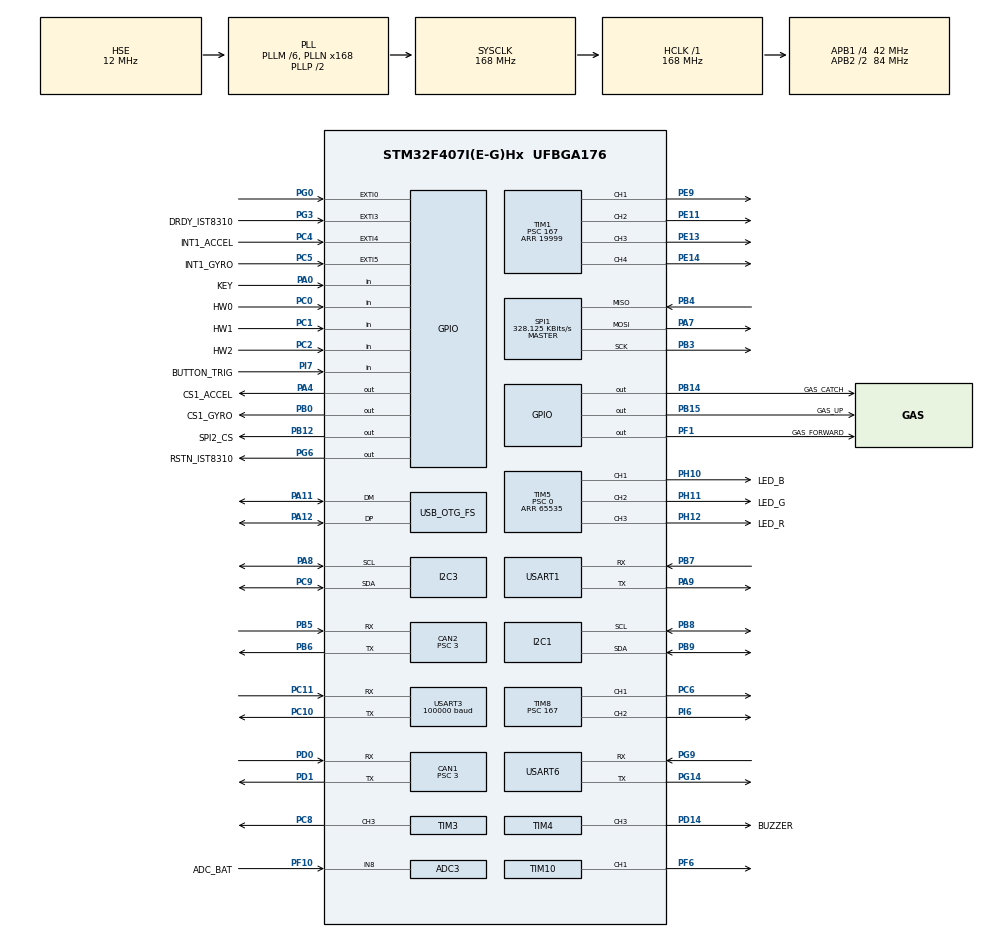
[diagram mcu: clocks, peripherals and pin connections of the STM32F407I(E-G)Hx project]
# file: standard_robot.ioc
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ADC1.Channel-0\#ChannelRegularConversion=ADC_CHANNEL_TEMPSENSOR
ADC1.ClockPrescaler=ADC_CLOCK_SYNC_PCLK_DIV6
ADC1.NbrOfConversionFlag=1
ADC1.Rank-0\#ChannelRegularConversion=1
ADC1.SamplingTime-0\#ChannelRegularConversion=ADC_SAMPLETIME_3CYCLES
ADC1.master=1
ADC3.Channel-0\#ChannelRegularConversion=ADC_CHANNEL_8
ADC3.ClockPrescaler=ADC_CLOCK_SYNC_PCLK_DIV6
ADC3.NbrOfConversionFlag=1
ADC3.Rank-0\#ChannelRegularConversion=1
ADC3.SamplingTime-0\#ChannelRegularConversion=ADC_SAMPLETIME_3CYCLES
CAN1.BS1=CAN_BS1_10TQ
CAN1.BS2=CAN_BS2_3TQ
CAN1.CalculateBaudRate=1000000
CAN1.CalculateTimeBit=999.99
CAN1.CalculateTimeQuantum=71.42857142857143
CAN1.Prescaler=3
CAN2.BS1=CAN_BS1_10TQ
CAN2.BS2=CAN_BS2_3TQ
CAN2.CalculateBaudRate=1000000
CAN2.CalculateTimeBit=999.99
CAN2.CalculateTimeQuantum=71.42857142857143
CAN2.Prescaler=3
Dma.Request0=SPI1_RX
Dma.Request1=SPI1_TX
Dma.Request2=USART3_RX
Dma.Request3=USART6_RX
Dma.Request4=USART6_TX
Dma.Request5=USART1_TX
Dma.Request6=USART1_RX
Dma.SPI1_RX.0.Direction=DMA_PERIPH_TO_MEMORY
Dma.SPI1_RX.0.FIFOMode=DMA_FIFOMODE_DISABLE
Dma.SPI1_RX.0.Instance=DMA2_Stream2
Dma.SPI1_RX.0.MemDataAlignment=DMA_MDATAALIGN_BYTE
Dma.SPI1_RX.0.MemInc=DMA_MINC_ENABLE
Dma.SPI1_RX.0.Mode=DMA_NORMAL
Dma.SPI1_RX.0.PeriphDataAlignment=DMA_PDATAALIGN_BYTE
Dma.SPI1_RX.0.PeriphInc=DMA_PINC_DISABLE
Dma.SPI1_RX.0.Priority=DMA_PRIORITY_VERY_HIGH
Dma.SPI1_TX.1.Direction=DMA_MEMORY_TO_PERIPH
Dma.SPI1_TX.1.FIFOMode=DMA_FIFOMODE_DISABLE
Dma.SPI1_TX.1.Instance=DMA2_Stream3
Dma.SPI1_TX.1.MemDataAlignment=DMA_MDATAALIGN_BYTE
Dma.SPI1_TX.1.MemInc=DMA_MINC_ENABLE
Dma.SPI1_TX.1.Mode=DMA_NORMAL
Dma.SPI1_TX.1.PeriphDataAlignment=DMA_PDATAALIGN_BYTE
Dma.SPI1_TX.1.PeriphInc=DMA_PINC_DISABLE
Dma.SPI1_TX.1.Priority=DMA_PRIORITY_HIGH
Dma.USART1_RX.6.Direction=DMA_PERIPH_TO_MEMORY
Dma.USART1_RX.6.FIFOMode=DMA_FIFOMODE_DISABLE
Dma.USART1_RX.6.Instance=DMA2_Stream5
Dma.USART1_RX.6.MemDataAlignment=DMA_MDATAALIGN_BYTE
Dma.USART1_RX.6.MemInc=DMA_MINC_ENABLE
Dma.USART1_RX.6.Mode=DMA_NORMAL
Dma.USART1_RX.6.PeriphDataAlignment=DMA_PDATAALIGN_BYTE
Dma.USART1_RX.6.PeriphInc=DMA_PINC_DISABLE
Dma.USART1_RX.6.Priority=DMA_PRIORITY_HIGH
Dma.USART1_TX.5.Direction=DMA_MEMORY_TO_PERIPH
Dma.USART1_TX.5.FIFOMode=DMA_FIFOMODE_DISABLE
Dma.USART1_TX.5.Instance=DMA2_Stream7
Dma.USART1_TX.5.MemDataAlignment=DMA_MDATAALIGN_BYTE
Dma.USART1_TX.5.MemInc=DMA_MINC_ENABLE
Dma.USART1_TX.5.Mode=DMA_NORMAL
Dma.USART1_TX.5.PeriphDataAlignment=DMA_PDATAALIGN_BYTE
Dma.USART1_TX.5.PeriphInc=DMA_PINC_DISABLE
Dma.USART1_TX.5.Priority=DMA_PRIORITY_MEDIUM
Dma.USART3_RX.2.Direction=DMA_PERIPH_TO_MEMORY
Dma.USART3_RX.2.FIFOMode=DMA_FIFOMODE_DISABLE
Dma.USART3_RX.2.Instance=DMA1_Stream1
Dma.USART3_RX.2.MemDataAlignment=DMA_MDATAALIGN_BYTE
Dma.USART3_RX.2.MemInc=DMA_MINC_ENABLE
Dma.USART3_RX.2.Mode=DMA_NORMAL
Dma.USART3_RX.2.PeriphDataAlignment=DMA_PDATAALIGN_BYTE
Dma.USART3_RX.2.PeriphInc=DMA_PINC_DISABLE
Dma.USART3_RX.2.Priority=DMA_PRIORITY_HIGH
Dma.USART6_RX.3.Direction=DMA_PERIPH_TO_MEMORY
Dma.USART6_RX.3.FIFOMode=DMA_FIFOMODE_DISABLE
Dma.USART6_RX.3.Instance=DMA2_Stream1
Dma.USART6_RX.3.MemDataAlignment=DMA_MDATAALIGN_BYTE
Dma.USART6_RX.3.MemInc=DMA_MINC_ENABLE
Dma.USART6_RX.3.Mode=DMA_NORMAL
Dma.USART6_RX.3.PeriphDataAlignment=DMA_PDATAALIGN_BYTE
Dma.USART6_RX.3.PeriphInc=DMA_PINC_DISABLE
Dma.USART6_RX.3.Priority=DMA_PRIORITY_HIGH
Dma.USART6_TX.4.Direction=DMA_MEMORY_TO_PERIPH
Dma.USART6_TX.4.FIFOMode=DMA_FIFOMODE_DISABLE
Dma.USART6_TX.4.Instance=DMA2_Stream6
Dma.USART6_TX.4.MemDataAlignment=DMA_MDATAALIGN_BYTE
Dma.USART6_TX.4.MemInc=DMA_MINC_ENABLE
Dma.USART6_TX.4.Mode=DMA_NORMAL
Dma.USART6_TX.4.PeriphDataAlignment=DMA_PDATAALIGN_BYTE
Dma.USART6_TX.4.PeriphInc=DMA_PINC_DISABLE
Dma.USART6_TX.4.Priority=DMA_PRIORITY_MEDIUM
FREERTOS.INCLUDE_eTaskGetState=1
FREERTOS.INCLUDE_pcTaskGetTaskName=1
FREERTOS.INCLUDE_uxTaskGetStackHighWaterMark=1
FREERTOS.INCLUDE_vTaskCleanUpResources=1
FREERTOS.INCLUDE_vTaskDelayUntil=1
FREERTOS.INCLUDE_xEventGroupSetBitFromISR=1
FREERTOS.INCLUDE_xQueueGetMutexHolder=1
FREERTOS.INCLUDE_xSemaphoreGetMutexHolder=1
FREERTOS.INCLUDE_xTaskAbortDelay=1
FREERTOS.INCLUDE_xTaskGetCurrentTaskHandle=1
FREERTOS.INCLUDE_xTaskGetHandle=1
FREERTOS.INCLUDE_xTimerPendFunctionCall=1
FREERTOS.Tasks01=test,24,128,test_task,As weak,NULL,Dynamic,NULL,NULL
FREERTOS.configTOTAL_HEAP_SIZE=24576
I2C1.I2C_Mode=I2C_Fast
I2C3.I2C_Mode=I2C_Fast
Mcu.Family=STM32F4
Mcu.Name=STM32F407I(E-G)Hx
Mcu.Package=UFBGA176
NVIC.CAN1_RX0_IRQn=true\:6\:0\:true\:false\:true\:true\:true\:true
NVIC.CAN2_RX0_IRQn=true\:6\:0\:true\:false\:true\:true\:true\:true
NVIC.DMA1_Stream1_IRQn=true\:5\:0\:true\:false\:false\:true\:false\:false
NVIC.DMA2_Stream1_IRQn=true\:5\:0\:true\:false\:true\:true\:false\:true
NVIC.DMA2_Stream2_IRQn=true\:5\:0\:false\:false\:true\:true\:false\:true
NVIC.DMA2_Stream3_IRQn=true\:5\:0\:true\:false\:false\:true\:false\:true
NVIC.DMA2_Stream5_IRQn=true\:5\:0\:true\:false\:true\:false\:false\:true
NVIC.DMA2_Stream6_IRQn=true\:5\:0\:true\:false\:true\:true\:false\:true
NVIC.DMA2_Stream7_IRQn=true\:5\:0\:true\:false\:true\:true\:false\:true
NVIC.EXTI0_IRQn=true\:6\:0\:true\:false\:true\:true\:true\:true
NVIC.EXTI3_IRQn=true\:5\:0\:true\:false\:true\:true\:true\:true
NVIC.EXTI4_IRQn=true\:5\:0\:true\:false\:true\:true\:true\:true
NVIC.EXTI9_5_IRQn=true\:5\:0\:true\:false\:true\:true\:true\:true
NVIC.OTG_FS_IRQn=true\:5\:0\:false\:false\:true\:true\:false\:true
NVIC.PriorityGroup=NVIC_PRIORITYGROUP_4
NVIC.USART1_IRQn=true\:5\:0\:false\:false\:true\:true\:true\:true
NVIC.USART3_IRQn=true\:4\:0\:true\:false\:false\:false\:true\:true
NVIC.USART6_IRQn=true\:5\:0\:true\:false\:false\:true\:true\:true
PA0-WKUP.GPIO_Label=KEY
PA0-WKUP.GPIO_PuPd=GPIO_PULLUP
PA0-WKUP.Signal=GPIO_Input
PA11.Mode=Device_Only
PA11.Signal=USB_OTG_FS_DM
PA12.Mode=Device_Only
PA12.Signal=USB_OTG_FS_DP
PA13.Mode=Serial_Wire
PA13.Signal=SYS_JTMS-SWDIO
PA14.Mode=Serial_Wire
PA14.Signal=SYS_JTCK-SWCLK
PA4.GPIO_Label=CS1_ACCEL
PA4.GPIO_PuPd=GPIO_PULLUP
PA4.GPIO_Speed=GPIO_SPEED_FREQ_HIGH
PA4.PinState=GPIO_PIN_SET
PA4.Signal=GPIO_Output
PA7.GPIO_PuPd=GPIO_PULLUP
PA7.Mode=Full_Duplex_Master
PA7.Signal=SPI1_MOSI
PA8.Mode=I2C
PA8.Signal=I2C3_SCL
PA9.Mode=Asynchronous
PA9.Signal=USART1_TX
PB0.GPIO_Label=CS1_GYRO
PB0.GPIO_PuPd=GPIO_PULLUP
PB0.GPIO_Speed=GPIO_SPEED_FREQ_HIGH
PB0.PinState=GPIO_PIN_SET
PB0.Signal=GPIO_Output
PB12.GPIO_Label=SPI2_CS
PB12.GPIO_PuPd=GPIO_PULLUP
PB12.GPIO_Speed=GPIO_SPEED_FREQ_MEDIUM
PB12.PinState=GPIO_PIN_SET
PB12.Signal=GPIO_Output
PB14.GPIO_Label=GAS_CATCH
PB14.GPIO_PuPd=GPIO_PULLDOWN
PB14.Signal=GPIO_Output
PB15.GPIO_Label=GAS_UP
PB15.GPIO_PuPd=GPIO_PULLDOWN
PB15.Signal=GPIO_Output
PB3.GPIO_PuPd=GPIO_PULLUP
PB3.Mode=Full_Duplex_Master
PB3.Signal=SPI1_SCK
PB4.GPIO_PuPd=GPIO_PULLUP
PB4.Mode=Full_Duplex_Master
PB4.Signal=SPI1_MISO
PB5.Mode=CAN_Activate
PB5.Signal=CAN2_RX
PB6.Mode=CAN_Activate
PB6.Signal=CAN2_TX
PB7.Mode=Asynchronous
PB7.Signal=USART1_RX
PB8.Mode=I2C
PB8.Signal=I2C1_SCL
PB9.Mode=I2C
PB9.Signal=I2C1_SDA
PC0.GPIO_Label=HW0
PC0.Signal=GPIO_Input
PC1.GPIO_Label=HW1
PC1.Signal=GPIO_Input
PC10.Mode=Asynchronous
PC10.Signal=USART3_TX
PC11.Mode=Asynchronous
PC11.Signal=USART3_RX
PC2.GPIO_Label=HW2
PC2.Signal=GPIO_Input
PC4.GPIO_Label=INT1_ACCEL
PC4.GPIO_ModeDefaultEXTI=GPIO_MODE_IT_FALLING
PC4.GPIO_PuPd=GPIO_PULLUP
PC4.Signal=GPXTI4
PC5.GPIO_Label=INT1_GYRO
PC5.GPIO_ModeDefaultEXTI=GPIO_MODE_IT_FALLING
PC5.GPIO_PuPd=GPIO_PULLUP
PC5.Signal=GPXTI5
PC6.GPIO_PuPd=GPIO_PULLUP
PC6.GPIO_Speed=GPIO_SPEED_FREQ_HIGH
PC6.Signal=S_TIM8_CH1
PC8.GPIO_PuPd=GPIO_PULLUP
PC8.GPIO_Speed=GPIO_SPEED_FREQ_HIGH
PC8.Signal=S_TIM3_CH3
PC9.Mode=I2C
PC9.Signal=I2C3_SDA
PD0.Mode=CAN_Activate
PD0.Signal=CAN1_RX
PD1.Mode=CAN_Activate
PD1.Signal=CAN1_TX
PD14.GPIO_Label=BUZZER
PD14.GPIO_PuPd=GPIO_PULLUP
PD14.GPIO_Speed=GPIO_SPEED_FREQ_VERY_HIGH
PD14.Signal=S_TIM4_CH3
PE11.GPIO_PuPd=GPIO_PULLUP
PE11.GPIO_Speed=GPIO_SPEED_FREQ_HIGH
PE11.Signal=S_TIM1_CH2
PE13.GPIO_PuPd=GPIO_PULLUP
PE13.GPIO_Speed=GPIO_SPEED_FREQ_HIGH
PE13.Signal=S_TIM1_CH3
PE14.GPIO_PuPd=GPIO_PULLUP
PE14.GPIO_Speed=GPIO_SPEED_FREQ_HIGH
PE14.Signal=S_TIM1_CH4
PE9.GPIO_PuPd=GPIO_PULLUP
PE9.GPIO_Speed=GPIO_SPEED_FREQ_HIGH
PE9.Signal=S_TIM1_CH1
PF0.Signal=I2C2_SDA
PF1.GPIO_Label=GAS_FORWARD
PF1.GPIO_PuPd=GPIO_PULLDOWN
PF1.Signal=GPIO_Output
PF10.GPIO_Label=ADC_BAT
PF10.Mode=IN8
PF10.Signal=ADC3_IN8
PF6.GPIO_PuPd=GPIO_PULLUP
PF6.GPIO_Speed=GPIO_SPEED_FREQ_HIGH
PF6.Signal=S_TIM10_CH1
PG0.GPIO_ModeDefaultEXTI=GPIO_MODE_IT_FALLING
PG0.GPIO_PuPd=GPIO_PULLUP
PG0.Signal=GPXTI0
PG14.Mode=Asynchronous
PG14.Signal=USART6_TX
PG3.GPIO_Label=DRDY_IST8310
PG3.GPIO_ModeDefaultEXTI=GPIO_MODE_IT_FALLING
PG3.GPIO_PuPd=GPIO_PULLUP
PG3.Signal=GPXTI3
PG6.GPIO_Label=RSTN_IST8310
PG6.GPIO_PuPd=GPIO_PULLUP
PG6.GPIO_Speed=GPIO_SPEED_FREQ_MEDIUM
PG6.PinState=GPIO_PIN_SET
PG6.Signal=GPIO_Output
PG9.Mode=Asynchronous
PG9.Signal=USART6_RX
PH0-OSC_IN.Mode=HSE-External-Oscillator
PH0-OSC_IN.Signal=RCC_OSC_IN
PH1-OSC_OUT.Mode=HSE-External-Oscillator
PH1-OSC_OUT.Signal=RCC_OSC_OUT
PH10.GPIO_Label=LED_B
PH10.GPIO_PuPd=GPIO_PULLUP
PH10.GPIO_Speed=GPIO_SPEED_FREQ_HIGH
PH10.Signal=S_TIM5_CH1
PH11.GPIO_Label=LED_G
PH11.GPIO_PuPd=GPIO_PULLUP
PH11.GPIO_Speed=GPIO_SPEED_FREQ_HIGH
PH11.Signal=S_TIM5_CH2
PH12.GPIO_Label=LED_R
PH12.GPIO_PuPd=GPIO_PULLUP
PH12.GPIO_Speed=GPIO_SPEED_FREQ_HIGH
PH12.Signal=S_TIM5_CH3
PI6.GPIO_PuPd=GPIO_PULLUP
PI6.GPIO_Speed=GPIO_SPEED_FREQ_HIGH
PI6.Signal=S_TIM8_CH2
PI7.GPIO_Label=BUTTON_TRIG
PI7.GPIO_PuPd=GPIO_PULLUP
PI7.Signal=GPIO_Input
ProjectManager.HeapSize=0x2000
ProjectManager.StackSize=0x2000
ProjectManager.TargetToolchain=MDK-ARM V5
RCC.48MHZClocksFreq_Value=48000000
RCC.AHBFreq_Value=168000000
RCC.APB1CLKDivider=RCC_HCLK_DIV4
RCC.APB1Freq_Value=42000000
RCC.APB1TimFreq_Value=84000000
RCC.APB2CLKDivider=RCC_HCLK_DIV2
RCC.APB2Freq_Value=84000000
RCC.APB2TimFreq_Value=168000000
RCC.CortexFreq_Value=168000000
RCC.HCLKFreq_Value=168000000
RCC.HSE_VALUE=12000000
RCC.HSI_VALUE=16000000
RCC.LSE_VALUE=32768
RCC.PLLM=6
RCC.PLLN=168
RCC.PLLQ=7
RCC.RCC_RTC_Clock_SourceVirtual=RCC_RTCCLKSOURCE_HSE_DIV30
RCC.RCC_RTC_Clock_Source_FROM_HSE=RCC_RTCCLKSOURCE_HSE_DIV30
RCC.SYSCLKFreq_VALUE=168000000
RCC.SYSCLKSource=RCC_SYSCLKSOURCE_PLLCLK
RCC.VCOOutputFreq_Value=336000000
RTC.AsynchPrediv=124
RTC.SynchPrediv=3199
SH.S_TIM10_CH1.0=TIM10_CH1,PWM Generation1 CH1
SH.S_TIM1_CH1.0=TIM1_CH1,PWM Generation1 CH1
SH.S_TIM1_CH2.0=TIM1_CH2,PWM Generation2 CH2
SH.S_TIM1_CH3.0=TIM1_CH3,PWM Generation3 CH3
SH.S_TIM1_CH4.0=TIM1_CH4,PWM Generation4 CH4
SH.S_TIM3_CH3.0=TIM3_CH3,PWM Generation3 CH3
SH.S_TIM4_CH3.0=TIM4_CH3,PWM Generation3 CH3
SH.S_TIM5_CH1.0=TIM5_CH1,PWM Generation1 CH1
SH.S_TIM5_CH2.0=TIM5_CH2,PWM Generation2 CH2
SH.S_TIM5_CH3.0=TIM5_CH3,PWM Generation3 CH3
SH.S_TIM8_CH1.0=TIM8_CH1,PWM Generation1 CH1
SH.S_TIM8_CH2.0=TIM8_CH2,PWM Generation2 CH2
SPI1.BaudRatePrescaler=SPI_BAUDRATEPRESCALER_256
SPI1.CLKPhase=SPI_PHASE_2EDGE
SPI1.CLKPolarity=SPI_POLARITY_HIGH
SPI1.CalculateBaudRate=328.125 KBits/s
SPI1.Direction=SPI_DIRECTION_2LINES
SPI1.Mode=SPI_MODE_MASTER
SPI1.VirtualType=VM_MASTER
TIM1.Channel-PWM\ Generation1\ CH1=TIM_CHANNEL_1
TIM1.Channel-PWM\ Generation2\ CH2=TIM_CHANNEL_2
TIM1.Channel-PWM\ Generation3\ CH3=TIM_CHANNEL_3
TIM1.Channel-PWM\ Generation4\ CH4=TIM_CHANNEL_4
TIM1.Period=19999
TIM1.Prescaler=167
TIM1.Pulse-PWM\ Generation1\ CH1=1000
TIM1.Pulse-PWM\ Generation2\ CH2=1000
TIM1.Pulse-PWM\ Generation3\ CH3=1000
TIM1.Pulse-PWM\ Generation4\ CH4=1000
TIM10.Channel=TIM_CHANNEL_1
TIM10.Period=4999
TIM3.Channel-PWM\ Generation3\ CH3=TIM_CHANNEL_3
TIM3.Period=8399
TIM4.Channel-PWM\ Generation3\ CH3=TIM_CHANNEL_3
TIM4.Period=65535
TIM4.Prescaler=167
TIM5.Channel-PWM\ Generation1\ CH1=TIM_CHANNEL_1
TIM5.Channel-PWM\ Generation2\ CH2=TIM_CHANNEL_2
TIM5.Channel-PWM\ Generation3\ CH3=TIM_CHANNEL_3
TIM5.Period=65535
TIM5.Prescaler=0
TIM8.Channel-PWM\ Generation1\ CH1=TIM_CHANNEL_1
TIM8.Channel-PWM\ Generation2\ CH2=TIM_CHANNEL_2
TIM8.Period=19999
TIM8.Prescaler=167
TIM8.Pulse-PWM\ Generation1\ CH1=1000
TIM8.Pulse-PWM\ Generation2\ CH2=1000
USART1.VirtualMode=VM_ASYNC
USART3.BaudRate=100000
USART3.Parity=PARITY_EVEN
USART3.VirtualMode=VM_ASYNC
USART6.VirtualMode=VM_ASYNC
USB_DEVICE.CLASS_NAME_FS=CDC
USB_DEVICE.VirtualMode-CDC_FS=Cdc
USB_DEVICE.VirtualModeFS=Cdc_FS
USB_OTG_FS.VirtualMode=Device_Only
VP_ADC1_TempSens_Input.Mode=IN-TempSens
VP_ADC1_Vref_Input.Mode=IN-Vrefint
VP_CRC_VS_CRC.Mode=CRC_Activate
VP_FREERTOS_VS_CMSIS_V1.Mode=CMSIS_V1
VP_RNG_VS_RNG.Mode=RNG_Activate
VP_RTC_VS_RTC_Activate.Mode=RTC_Enabled
VP_TIM10_VS_ClockSourceINT.Mode=Enable_Timer
VP_TIM1_VS_ClockSourceINT.Mode=Internal
VP_TIM3_VS_ClockSourceINT.Mode=Internal
VP_TIM4_VS_ClockSourceINT.Mode=Internal
VP_TIM5_VS_ClockSourceINT.Mode=Internal
VP_TIM8_VS_ClockSourceINT.Mode=Internal
VP_USB_DEVICE_VS_USB_DEVICE_CDC_FS.Mode=CDC_FS
board=custom

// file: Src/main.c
/* USER CODE BEGIN Header */
/**
  ******************************************************************************
  * @file           : main.c
  * @brief          : Main program body
  ******************************************************************************
  * @attention
  *
  * <h2><center>&copy; Copyright (c) 2019 STMicroelectronics.
  * All rights reserved.</center></h2>
  *
  * This software component is licensed by ST under Ultimate Liberty license
  * SLA0044, the "License"; You may not use this file except in compliance with
  * the License. You may obtain a copy of the License at:
  *                             www.st.com/SLA0044
  *
  ******************************************************************************
  */
/* USER CODE END Header */
#include "main.h"
#include "cmsis_os.h"
#include "adc.h"
#include "can.h"
#include "crc.h"
#include "dma.h"
#include "i2c.h"
#include "rng.h"
#include "rtc.h"
#include "spi.h"
#include "tim.h"
#include "usart.h"
#include "usb_device.h"
#include "gpio.h"

/* USER CODE BEGIN Includes */
#include "bsp_can.h"
#include "bsp_delay.h"
#include "bsp_usart.h"
#include "remote_control.h"

#include "calibrate_task.h"
#include "chassis_task.h"
#include "detect_task.h"
#include "gimbal_task.h"
#include "INS_task.h"
#include "led_flow_task.h"
#include "oled_task.h"
#include "referee_usart_task.h"
#include "usb_task.h"
#include "voltage_task.h"
/* USER CODE END Includes */

void SystemClock_Config(void);
void MX_FREERTOS_Init(void);

int main(void)
{

  /* MCU Configuration--------------------------------------------------------*/

  /* Reset of all peripherals, Initializes the Flash interface and the Systick. */
  HAL_Init();

  /* Configure the system clock */
  SystemClock_Config();

  /* Initialize all configured peripherals */
  MX_GPIO_Init();
  MX_DMA_Init();
  MX_ADC1_Init();
  MX_ADC3_Init();
  MX_CAN1_Init();
  MX_CAN2_Init();
  MX_I2C1_Init();
  MX_SPI1_Init();
  MX_TIM4_Init();
  MX_TIM5_Init();
  MX_USART3_UART_Init();
  MX_TIM8_Init();
  MX_CRC_Init();
  MX_RNG_Init();
  MX_I2C3_Init();
  MX_RTC_Init();
  MX_TIM1_Init();
  MX_TIM3_Init();
  MX_TIM10_Init();
  MX_USART1_UART_Init();
  MX_USART6_UART_Init();
  /* USER CODE BEGIN 2 */
    can_filter_init();
    delay_init();
    cali_param_init();
    remote_control_init();
  /* USER CODE END 2 */

  /* Call init function for freertos objects (in freertos.c) */
  MX_FREERTOS_Init();
  /* Start scheduler */
  osKernelStart();

  /* We should never get here as control is now taken by the scheduler */
  /* Infinite loop */
    while (1)
    {

    }
}

void SystemClock_Config(void)
{
  RCC_OscInitTypeDef RCC_OscInitStruct = {0};
  RCC_ClkInitTypeDef RCC_ClkInitStruct = {0};
  RCC_PeriphCLKInitTypeDef PeriphClkInitStruct = {0};

  /** Configure the main internal regulator output voltage
  */
  __HAL_RCC_PWR_CLK_ENABLE();
  __HAL_PWR_VOLTAGESCALING_CONFIG(PWR_REGULATOR_VOLTAGE_SCALE1);
  /** Initializes the RCC Oscillators according to the specified parameters
  * in the RCC_OscInitTypeDef structure.
  */
  RCC_OscInitStruct.OscillatorType = RCC_OSCILLATORTYPE_HSE;
  RCC_OscInitStruct.HSEState = RCC_HSE_ON;
  RCC_OscInitStruct.PLL.PLLState = RCC_PLL_ON;
  RCC_OscInitStruct.PLL.PLLSource = RCC_PLLSOURCE_HSE;
  RCC_OscInitStruct.PLL.PLLM = 6;
  RCC_OscInitStruct.PLL.PLLN = 168;
  RCC_OscInitStruct.PLL.PLLP = RCC_PLLP_DIV2;
  RCC_OscInitStruct.PLL.PLLQ = 7;
  if (HAL_RCC_OscConfig(&RCC_OscInitStruct) != HAL_OK)
  {
    Error_Handler();
  }
  /** Initializes the CPU, AHB and APB buses clocks
  */
  RCC_ClkInitStruct.ClockType = RCC_CLOCKTYPE_HCLK|RCC_CLOCKTYPE_SYSCLK
                              |RCC_CLOCKTYPE_PCLK1|RCC_CLOCKTYPE_PCLK2;
  RCC_ClkInitStruct.SYSCLKSource = RCC_SYSCLKSOURCE_PLLCLK;
  RCC_ClkInitStruct.AHBCLKDivider = RCC_SYSCLK_DIV1;
  RCC_ClkInitStruct.APB1CLKDivider = RCC_HCLK_DIV4;
  RCC_ClkInitStruct.APB2CLKDivider = RCC_HCLK_DIV2;

  if (HAL_RCC_ClockConfig(&RCC_ClkInitStruct, FLASH_LATENCY_5) != HAL_OK)
  {
    Error_Handler();
  }
  PeriphClkInitStruct.PeriphClockSelection = RCC_PERIPHCLK_RTC;
  PeriphClkInitStruct.RTCClockSelection = RCC_RTCCLKSOURCE_HSE_DIV30;
  if (HAL_RCCEx_PeriphCLKConfig(&PeriphClkInitStruct) != HAL_OK)
  {
    Error_Handler();
  }
}

void Error_Handler(void)
{
}

/************************ (C) COPYRIGHT STMicroelectronics *****END OF FILE****/

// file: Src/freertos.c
/* USER CODE BEGIN Header */
/**
  ******************************************************************************
  * File Name          : freertos.c
  * Description        : Code for freertos applications
  ******************************************************************************
  * @attention
  *
  * <h2><center>&copy; Copyright (c) 2019 STMicroelectronics.
  * All rights reserved.</center></h2>
  *
  * This software component is licensed by ST under Ultimate Liberty license
  * SLA0044, the "License"; You may not use this file except in compliance with
  * the License. You may obtain a copy of the License at:
  *                             www.st.com/SLA0044
  *
  ******************************************************************************
  */
/* USER CODE END Header */

#include "FreeRTOS.h"
#include "task.h"
#include "main.h"
#include "cmsis_os.h"

/* USER CODE BEGIN Includes */

#include "calibrate_task.h"
#include "chassis_task.h"
//#include "detect_task.h"
#include "gimbal_task.h"
#include "INS_task.h"
#include "led_flow_task.h"
//#include "oled_task.h"
#include "referee_usart_task.h"
#include "usb_task.h"
#include "voltage_task.h"
#include "servo_task.h"

// 自定义任务
#include "user_task.h"
#include "catch_task.h"
#include "pc_usart_task.h"
#include "gas_task.h"

/* USER CODE END Includes */

/* USER CODE BEGIN PTD */

osThreadId calibrate_tast_handle;
osThreadId chassisTaskHandle;
osThreadId detect_handle;
osThreadId gimbalTaskHandle;
osThreadId imuTaskHandle;
osThreadId led_RGB_flow_handle;
osThreadId oled_handle;
osThreadId referee_usart_task_handle;
osThreadId usb_task_handle;
osThreadId battery_voltage_handle;
osThreadId servo_task_handle;

//自定义任务
osThreadId user_task_handle;
osThreadId catch_task_handle;
osThreadId pc_usart_task_handle;
osThreadId gas_task_handle;
/* USER CODE END PTD */

osThreadId testHandle;

void test_task(void const * argument);

extern void MX_USB_DEVICE_Init(void);
void MX_FREERTOS_Init(void); /* (MISRA C 2004 rule 8.1) */

/* GetIdleTaskMemory prototype (linked to static allocation support) */
void vApplicationGetIdleTaskMemory( StaticTask_t **ppxIdleTaskTCBBuffer, StackType_t **ppxIdleTaskStackBuffer, uint32_t *pulIdleTaskStackSize );

/* GetTimerTaskMemory prototype (linked to static allocation support) */
void vApplicationGetTimerTaskMemory( StaticTask_t **ppxTimerTaskTCBBuffer, StackType_t **ppxTimerTaskStackBuffer, uint32_t *pulTimerTaskStackSize );

/* USER CODE BEGIN GET_IDLE_TASK_MEMORY */
static StaticTask_t xIdleTaskTCBBuffer;
static StackType_t xIdleStack[configMINIMAL_STACK_SIZE];

void vApplicationGetIdleTaskMemory( StaticTask_t **ppxIdleTaskTCBBuffer, StackType_t **ppxIdleTaskStackBuffer, uint32_t *pulIdleTaskStackSize )
{
  *ppxIdleTaskTCBBuffer = &xIdleTaskTCBBuffer;
  *ppxIdleTaskStackBuffer = &xIdleStack[0];
  *pulIdleTaskStackSize = configMINIMAL_STACK_SIZE;
  /* place for user code */
}
/* USER CODE END GET_IDLE_TASK_MEMORY */

/* USER CODE BEGIN GET_TIMER_TASK_MEMORY */
static StaticTask_t xTimerTaskTCBBuffer;
static StackType_t xTimerStack[configTIMER_TASK_STACK_DEPTH];

void vApplicationGetTimerTaskMemory( StaticTask_t **ppxTimerTaskTCBBuffer, StackType_t **ppxTimerTaskStackBuffer, uint32_t *pulTimerTaskStackSize )
{
  *ppxTimerTaskTCBBuffer = &xTimerTaskTCBBuffer;
  *ppxTimerTaskStackBuffer = &xTimerStack[0];
  *pulTimerTaskStackSize = configTIMER_TASK_STACK_DEPTH;
  /* place for user code */
}
/* USER CODE END GET_TIMER_TASK_MEMORY */

void MX_FREERTOS_Init(void) {

  /* Create the thread(s) */
  /* definition and creation of test */
//  osThreadDef(test, test_task, osPriorityNormal, 0, 128);
//  testHandle = osThreadCreate(osThread(test), NULL);

  /* USER CODE BEGIN RTOS_THREADS */
  /* add threads, ... */
//    osThreadDef(cali, calibrate_task, osPriorityNormal, 0, 512);	// 不需要
//    calibrate_tast_handle = osThreadCreate(osThread(cali), NULL);

//    osThreadDef(ChassisTask, chassis_task, osPriorityAboveNormal, 0, 512);
//    chassisTaskHandle = osThreadCreate(osThread(ChassisTask), NULL);

//    osThreadDef(DETECT, detect_task, osPriorityNormal, 0, 256);	// 不需要
//    detect_handle = osThreadCreate(osThread(DETECT), NULL);

//    osThreadDef(gimbalTask, gimbal_task, osPriorityHigh, 0, 512);	// 不需要
//    gimbalTaskHandle = osThreadCreate(osThread(gimbalTask), NULL);

    osThreadDef(imuTask, INS_task, osPriorityRealtime, 0, 1024);
    imuTaskHandle = osThreadCreate(osThread(imuTask), NULL);

    osThreadDef(led, led_RGB_flow_task, osPriorityNormal, 0, 256);
    led_RGB_flow_handle = osThreadCreate(osThread(led), NULL);

//    osThreadDef(OLED, oled_task, osPriorityLow, 0, 256);	// 不需要
//    oled_handle = osThreadCreate(osThread(OLED), NULL);

//    osThreadDef(USBTask, usb_task, osPriorityNormal, 0, 128);	// 不需要
//    usb_task_handle = osThreadCreate(osThread(USBTask), NULL);

//    osThreadDef(BATTERY_VOLTAGE, battery_voltage_task, osPriorityNormal, 0, 128);	// 不需要
//    battery_voltage_handle = osThreadCreate(osThread(BATTERY_VOLTAGE), NULL);

/* -----------------------------自定义任务------------------------------ */
	// 裁判系统通信
//    osThreadDef(REFEREE, referee_usart_task, osPriorityNormal, 0, 128);
//    referee_usart_task_handle = osThreadCreate(osThread(REFEREE), NULL);

	// 云台舵机
    osThreadDef(SERVO, servo_task, osPriorityHigh, 0, 256);
    servo_task_handle = osThreadCreate(osThread(SERVO), NULL);

//	// 障碍块、救援
//    osThreadDef(USER, user_task, osPriorityAboveNormal, 0, 512);
//    user_task_handle = osThreadCreate(osThread(USER), NULL);

//	// 抓手、电动升降
//    osThreadDef(CATCH, catch_task, osPriorityHigh, 0, 512);
//    catch_task_handle = osThreadCreate(osThread(CATCH), NULL);

//	// 上位机通信任务
//    osThreadDef(PcTask, pc_usart_task, osPriorityNormal, 0, 256);	// 与视觉通信，不需要
//    pc_usart_task_handle = osThreadCreate(osThread(PcTask), NULL);

//	// 气缸
//    osThreadDef(GasTask, gas_task, osPriorityNormal, 0, 128);
//    gas_task_handle = osThreadCreate(osThread(GasTask), NULL);

  /* USER CODE END RTOS_THREADS */

}

__weak void test_task(void const * argument)
{
  /* init code for USB_DEVICE */
  MX_USB_DEVICE_Init();
  for(;;)
  {
    osDelay(1);
  }
}

/************************ (C) COPYRIGHT STMicroelectronics *****END OF FILE****/
